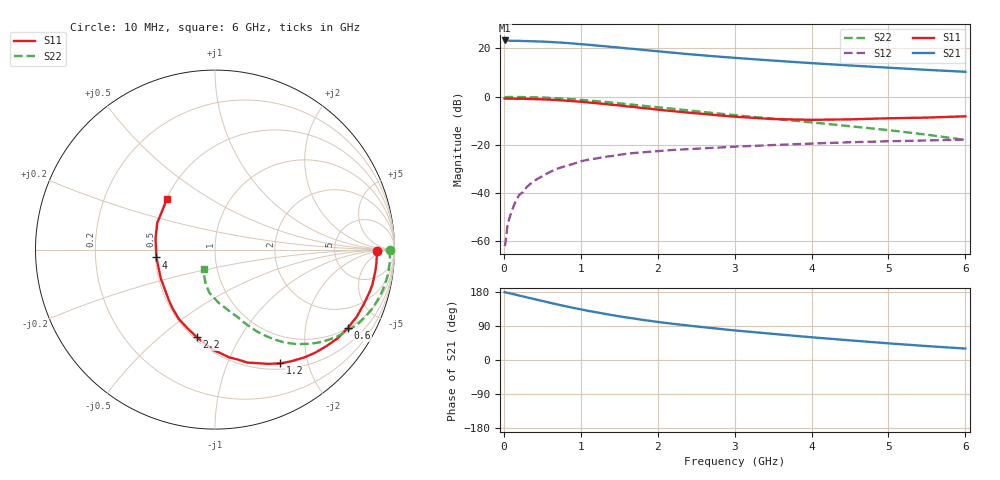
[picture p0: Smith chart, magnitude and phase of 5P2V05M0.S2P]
! SIEMENS Discrete & RF Semiconductors
! BFP520
! Si NPN RF SIEGET Grounded Emitter Transistor in SOT343
! VCE = 2 V  IC = 5 mA
! Common Emitter S-Parameters:  May  1998
# GHz  S  MA  R  50
!  f  S11  S21  S12  S22
! GHz  MAG  ANG  MAG  ANG  MAG  ANG  MAG  ANG
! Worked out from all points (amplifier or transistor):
!   36 points, 10 MHz to 6 GHz, reference 50 ohm
!   highest |S21| = 23.2 dB at 10 MHz (marker M1)
!   |S21| within 3 dB of that: start of sweep to 1.519 GHz
!   unconditionally stable (mu >= 1): start of sweep to 24.08 MHz; 4.433 GHz to end of sweep
!   at 250 MHz: K = 0.08, MSG = 31.2 dB, |S12| = -39.5 dB
!   at 1.4 GHz: K = 0.32, MSG = 22.6 dB, |S12| = -24.7 dB
!   at 6 GHz: K = 1.16, MAG = 11.6 dB, |S12| = -17.8 dB
!   lowest NFmin = 0.89 dB at 450 MHz
!   S11 on the Smith chart (normalised r, x): 10 MHz: 20, -2; 600 MHz: 1.01, -3.38; 1.2 GHz: 0.58, -1.57; 2.2 GHz: 0.52, -0.67; 4 GHz: 0.51, -0.05; 6 GHz: 0.50, +0.33
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0.01  0.9037 -0.6  14.46 179.1  0.0008 32.8  0.9736 -0.1
0.05  0.902 -2.4  14.38 177.2  0.0023 86.9  0.9748 -1.5
0.1  0.9024 -5.0  14.2 174.9  0.0042 86.5  0.9763 -3.1
0.2  0.8991 -10.1  14.2 170.0  0.0092 88.3  0.9747 -6.5
0.4  0.8832 -20.1  13.87 160.5  0.0182 81.8  0.9624 -13.3
0.6  0.8592 -30.6  13.46 151.1  0.0274 77.4  0.9382 -20.2
0.8  0.8219 -40.8  12.87 142.0  0.0362 73.6  0.9011 -26.9
0.9  0.8006 -45.9  12.51 137.7  0.0402 71.0  0.8771 -30.1
1.1  0.7527 -55.8  11.79 129.5  0.0494 65.6  0.8298 -36.2
1.2  0.7303 -60.2  11.36 126.1  0.0522 63.4  0.8034 -38.9
1.3  0.7026 -65.0  11.02 122.3  0.0561 61.2  0.7774 -41.7
1.5  0.6547 -74.0  10.31 115.3  0.0621 57.1  0.7244 -46.5
1.6  0.6243 -78.5  9.905 112.1  0.0655 54.7  0.6984 -49.0
1.9  0.56 -91.0  8.933 103.3  0.072 49.5  0.6213 -54.9
2.2  0.4973 -101.9  8.063 95.4  0.0784 45.6  0.5569 -59.6
2.6  0.4359 -117.5  7.09 86.4  0.0848 40.6  0.4769 -65.3
2.8  0.4062 -125.2  6.676 82.2  0.0879 38.8  0.4424 -67.9
3.5  0.3417 -152.4  5.538 68.9  0.099 32.7  0.348 -77.4
4  0.3292 -172.4  4.907 60.0  0.1063 29.1  0.2915 -87.1
4.5  0.3367 169.8  4.387 51.8  0.1131 24.7  0.2427 -97.3
5.5  0.3662 143.0  3.559 36.7  0.1232 18.3  0.1623 -111.6
6  0.3891 133.8  3.247 30.2  0.1289 15.1  0.1263 -119.7
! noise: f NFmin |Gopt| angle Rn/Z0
0.45  0.89  0.61  6  0.66
0.9  0.91  0.5  11  0.32
1.8  1.04  0.37  22  0.29
2.4  1.14  0.34  32  0.3
3  1.27  0.29  46  0.28
4  1.43  0.16  70  0.23
